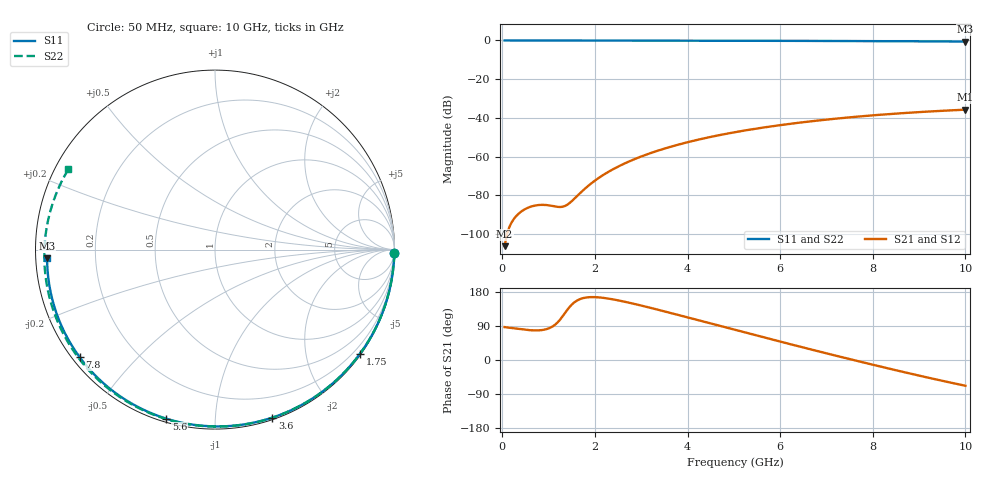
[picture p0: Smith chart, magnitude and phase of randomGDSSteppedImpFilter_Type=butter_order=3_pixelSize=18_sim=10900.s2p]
! freq	dB(S11)	phase(S11)	dB(S12)	phase(S12)
!  dB(S21)	phase(S21)	dB(S22)	phase(S22)
!S-par simulation data
#  GHz  S  DB  R 50
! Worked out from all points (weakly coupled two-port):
!   200 points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, 50 MHz to 10 GHz, reference 50 ohm
!   highest |S21| = -35.74 dB at 10 GHz (marker M1); lowest = -106.2 dB at 50 MHz (marker M2)
!   lowest |S11| = -0.6 dB at 10 GHz (marker M3), VSWR 30.57, Z = 1.64 - j1.29 ohm
!   |S11| at or under -10 dB: nowhere
!   |S22| runs from -0.6 to 0.0 dB; largest |S21 - S12| = 0
!   S11 on the Smith chart (normalised r, x): 50 MHz: open; 1.75 GHz: 0.03, -3.10; 3.6 GHz: 0.02, -1.40; 5.6 GHz: 0.02, -0.75; 7.8 GHz: 0.02, -0.35; 10 GHz: 0.03, -0.03
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0.05  -0.00 -1.0  -106.23 86.8  -106.23 86.8  -0.00 -1.2
0.45  -0.01 -9.3  -87.69 80.4  -87.69 80.4  -0.02 -11.1
0.8  -0.02 -16.5  -84.96 78.4  -84.96 78.4  -0.03 -19.7
1.2  -0.03 -24.7  -85.94 99.9  -85.94 99.9  -0.04 -29.4
1.6  -0.04 -32.8  -80.70 155.9  -80.70 155.9  -0.05 -39.0
1.65  -0.04 -33.8  -79.53 159.2  -79.53 159.2  -0.05 -40.2
1.75  -0.05 -35.8  -77.28 163.4  -77.28 163.4  -0.05 -42.5
2.05  -0.05 -41.7  -71.53 165.6  -71.53 165.6  -0.06 -49.5
2.45  -0.06 -49.5  -65.77 158.6  -65.77 158.6  -0.07 -58.7
2.9  -0.08 -58.1  -60.86 146.6  -60.86 146.6  -0.09 -68.8
3.4  -0.09 -67.5  -56.60 131.5  -56.60 131.5  -0.10 -79.6
3.6  -0.09 -71.2  -55.14 125.2  -55.14 125.2  -0.11 -83.9
4.3  -0.12 -83.8  -50.85 102.8  -50.85 102.8  -0.14 -98.3
5.05  -0.15 -96.8  -47.26 78.7  -47.26 78.7  -0.17 -113.3
5.6  -0.17 -106.0  -45.11 61.2  -45.11 61.2  -0.20 -123.9
6.15  -0.20 -115.1  -43.26 43.8  -43.26 43.8  -0.23 -134.3
6.7  -0.24 -124.0  -41.66 26.8  -41.66 26.8  -0.27 -144.5
7.25  -0.28 -132.8  -40.27 10.0  -40.27 10.0  -0.31 -154.7
7.8  -0.33 -141.5  -39.07 -6.5  -39.07 -6.5  -0.36 -165.0
8.35  -0.38 -150.2  -38.03 -22.7  -38.03 -22.7  -0.42 -175.4
9.2  -0.47 -163.8  -36.72 -46.7  -36.72 -46.7  -0.51 168.0
10  -0.57 -177.0  -35.74 -67.9  -35.74 -67.9  -0.62 151.3
